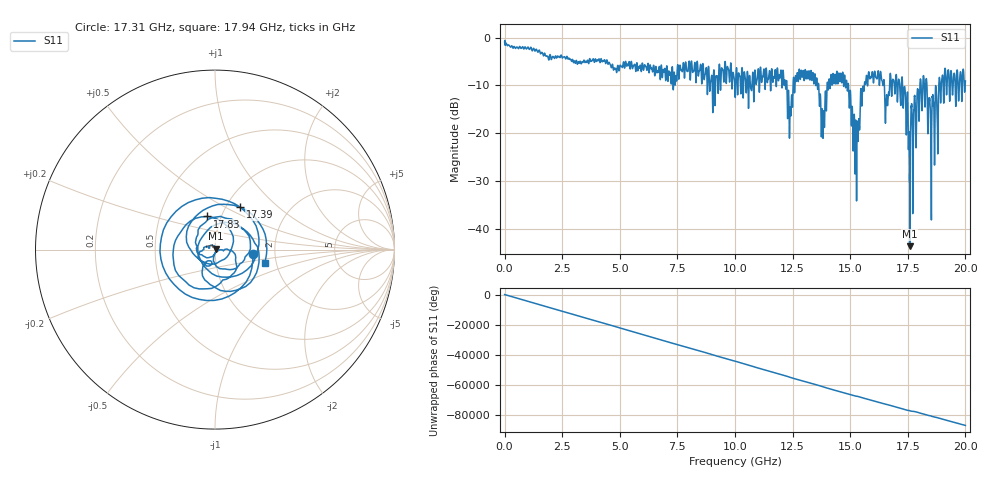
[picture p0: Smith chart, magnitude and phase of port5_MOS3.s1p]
! MS46122B
! 2250307/22442219
! 6/15/2025 8:17:07 AM
! C:\USERS\SPARKY\DOCUMENTS\VNA_DATA\JUNE15_2025\3.2K\PORT5_MOS3.S1P
! CHANNEL.1
! TR.MEASUREMENT
! RAW.DATA
# GHZ S RI R 50.0
! FREQ.GHZ  S11RE  S11IM
!; PortSelection: Port_1
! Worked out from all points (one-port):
!   10001 points, 1 MHz to 20 GHz, reference 50 ohm
!   lowest |S11| = -43.5 dB at 17.59 GHz (marker M1), VSWR 1.01, Z = 50.3 + j0.576 ohm
!   |S11| at or under -10 dB: 14.92 GHz to 15.61 GHz (688.2 MHz wide, 4.51 % of centre); 17.27 GHz to 18.03 GHz (752.4 MHz wide, 4.26 % of centre); 18.33 GHz to 18.84 GHz (513.1 MHz wide, 2.76 % of centre) (the widest 3 of 53)
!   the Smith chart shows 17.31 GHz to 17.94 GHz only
!   S11 on the Smith chart (normalised r, x): 17.31 GHz: 1.53, -0.08; 17.39 GHz: 1.16, +0.60; 17.83 GHz: 0.86, +0.33; 17.94 GHz: 1.74, -0.29
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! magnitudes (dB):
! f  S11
! 1 MHz  -0.9
! 2.501 GHz  -4.3
! 5.001 GHz  -6.0
! 7.501 GHz  -6.2
! 10 GHz  -11.5
! 11.92 GHz  -7.9
! 12.36 GHz  -19.9
! 12.5 GHz  -14.2
! 13.38 GHz  -7.3
! 13.81 GHz  -19.9
! 14.09 GHz  -8.7
! 14.59 GHz  -7.5
! 15 GHz  -11.2
! 15.29 GHz  -22.6
! 15.54 GHz  -10.6
! 15.88 GHz  -8.3
! 16.59 GHz  -12.6
! 16.81 GHz  -11.7
! 17.31 GHz  -13.5
! 17.39 GHz  -11.2
! 17.5 GHz  -13.3
! 17.59 GHz  -43.5
! 17.83 GHz  -14.4
! 17.94 GHz  -10.8
! 18.24 GHz  -14.5
! 18.58 GHz  -11.9
! 19.05 GHz  -13.2
! 20 GHz  -9.1
